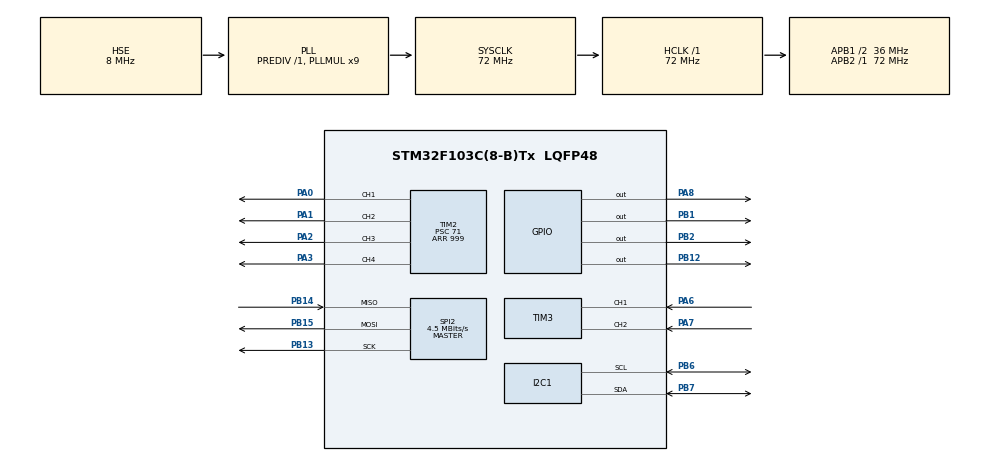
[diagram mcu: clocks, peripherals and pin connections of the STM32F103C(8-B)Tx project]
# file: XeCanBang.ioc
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Mcu.Family=STM32F1
Mcu.Name=STM32F103C(8-B)Tx
Mcu.Package=LQFP48
NVIC.PriorityGroup=NVIC_PRIORITYGROUP_4
PA0-WKUP.Signal=S_TIM2_CH1_ETR
PA1.Signal=S_TIM2_CH2
PA13.Mode=Serial_Wire
PA13.Signal=SYS_JTMS-SWDIO
PA14.Mode=Serial_Wire
PA14.Signal=SYS_JTCK-SWCLK
PA2.Signal=S_TIM2_CH3
PA3.Signal=S_TIM2_CH4
PA6.GPIO_PuPd=GPIO_PULLUP
PA6.Signal=S_TIM3_CH1
PA7.GPIO_PuPd=GPIO_PULLUP
PA7.Signal=S_TIM3_CH2
PA8.Signal=GPIO_Output
PB1.Signal=GPIO_Output
PB12.Signal=GPIO_Output
PB13.Mode=Full_Duplex_Master
PB13.Signal=SPI2_SCK
PB14.Mode=Full_Duplex_Master
PB14.Signal=SPI2_MISO
PB15.Mode=Full_Duplex_Master
PB15.Signal=SPI2_MOSI
PB2.Signal=GPIO_Output
PB6.Mode=I2C
PB6.Signal=I2C1_SCL
PB7.Mode=I2C
PB7.Signal=I2C1_SDA
PD0-OSC_IN.Mode=HSE-External-Oscillator
PD0-OSC_IN.Signal=RCC_OSC_IN
PD1-OSC_OUT.Mode=HSE-External-Oscillator
PD1-OSC_OUT.Signal=RCC_OSC_OUT
ProjectManager.HeapSize=0x200
ProjectManager.StackSize=0x400
ProjectManager.TargetToolchain=MDK-ARM V5.32
RCC.AHBFreq_Value=72000000
RCC.APB1CLKDivider=RCC_HCLK_DIV2
RCC.APB1Freq_Value=36000000
RCC.APB1TimFreq_Value=72000000
RCC.APB2Freq_Value=72000000
RCC.APB2TimFreq_Value=72000000
RCC.HCLKFreq_Value=72000000
RCC.PLLMUL=RCC_PLL_MUL9
RCC.PLLSourceVirtual=RCC_PLLSOURCE_HSE
RCC.SYSCLKFreq_VALUE=72000000
RCC.SYSCLKSource=RCC_SYSCLKSOURCE_PLLCLK
RCC.USBFreq_Value=72000000
SH.S_TIM2_CH1_ETR.0=TIM2_CH1,PWM Generation1 CH1
SH.S_TIM2_CH2.0=TIM2_CH2,PWM Generation2 CH2
SH.S_TIM2_CH3.0=TIM2_CH3,PWM Generation3 CH3
SH.S_TIM2_CH4.0=TIM2_CH4,PWM Generation4 CH4
SH.S_TIM3_CH1.0=TIM3_CH1,Encoder_Interface
SH.S_TIM3_CH2.0=TIM3_CH2,Encoder_Interface
SPI2.BaudRatePrescaler=SPI_BAUDRATEPRESCALER_8
SPI2.CalculateBaudRate=4.5 MBits/s
SPI2.Direction=SPI_DIRECTION_2LINES
SPI2.Mode=SPI_MODE_MASTER
SPI2.VirtualType=VM_MASTER
TIM1.Prescaler=1124
TIM2.Channel-PWM\ Generation1\ CH1=TIM_CHANNEL_1
TIM2.Channel-PWM\ Generation2\ CH2=TIM_CHANNEL_2
TIM2.Channel-PWM\ Generation3\ CH3=TIM_CHANNEL_3
TIM2.Channel-PWM\ Generation4\ CH4=TIM_CHANNEL_4
TIM2.Period=999
TIM2.Prescaler=71
TIM3.EncoderMode=TIM_ENCODERMODE_TI12
TIM4.Prescaler=35
VP_TIM1_VS_ClockSourceINT.Mode=Internal
VP_TIM2_VS_ClockSourceINT.Mode=Internal
VP_TIM4_VS_ClockSourceINT.Mode=Internal
board=custom

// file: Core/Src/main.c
/* USER CODE BEGIN Header */
/**
  ******************************************************************************
  * @file           : main.c
  * @brief          : Main program body
  ******************************************************************************
  * @attention
  *
  * Copyright (c) 2025 STMicroelectronics.
  * All rights reserved.
  *
  * This software is licensed under terms that can be found in the LICENSE file
  * in the root directory of this software component.
  * If no LICENSE file comes with this software, it is provided AS-IS.
  *
  ******************************************************************************
  */
/* USER CODE END Header */
#include "main.h"

/* USER CODE BEGIN Includes */
#include "math.h"
#include "NRF24L01P.h"
#include "DHT11.h"
/* USER CODE END Includes */

/* USER CODE BEGIN PD */
#define 		ADD 		0xD0
#define     RTD     57.2957
/* USER CODE END PD */

I2C_HandleTypeDef hi2c1;

SPI_HandleTypeDef hspi2;

TIM_HandleTypeDef htim1;
TIM_HandleTypeDef htim2;
TIM_HandleTypeDef htim3;
TIM_HandleTypeDef htim4;

/* USER CODE BEGIN PV */
int16_t ax = 0, ay = 0 , az = 0, gx = 0 ,gy = 0 , gz = 0;
float AX,AY,AZ,GX,GY,GZ;
float pitch = 0;
float roll = 0;
/*
--------2x18650--------
float Kp = 300;          // (P)roportional Tuning Parameter
float Ki = 2000;          // (I)ntegral Tuning Parameter
float Kd =5;          // (D)erivative Tuning Parameter
-----------------------
*/

float Kp_a =300;          // (P)roportional Tuning Parameter
float Ki_a = 0;          // (I)ntegral Tuning Parameter
float Kd_a = 0.4;          // (D)erivative Tuning Parameter

float Kp_p =0.04;//0.05;          // (P)roportional Tuning Parameter
float Ki_p = 0;          // (I)ntegral Tuning Parameter
float Kd_p = 0.0001;//0.001;          // (D)erivative Tuning Parameter
float iTerm_p = 0;       // Used to accumulate error (integral)
float lastTime_p = 0;    // Records the time the function was last called
float maxPID_p = 30;    // The maximum value that can be output
float oldValue_p = 0;    // The last sensor value
float targetValue_p = 0;
float pwmDead_p = 0;
//---------------------------------------
float iTerm_a = 0;       // Used to accumulate error (integral)
float lastTime_a = 0;    // Records the time the function was last called
float maxPID_a = 999;    // The maximum value that can be output
float oldValue_a = 0;    // The last sensor value
float targetValue_a = 0;
float pwmDead_a = 0;

short encoder = 0;

int count_dht = 0;
int count_dht_current = 0;
int count_dht_last = 0;
/* USER CODE END PV */

void SystemClock_Config(void);
static void MX_GPIO_Init(void);
static void MX_I2C1_Init(void);
static void MX_TIM2_Init(void);
static void MX_TIM1_Init(void);
static void MX_TIM3_Init(void);
static void MX_SPI2_Init(void);
static void MX_TIM4_Init(void);
/* USER CODE BEGIN PFP */
uint8_t MPU6050Init(void);
void MPU6050ReadG(void);
void MPU6050ReadA(void);
void filter(float AX, float AY, float AZ, float GX, float GY, float GZ,uint16_t dt);
/* USER CODE END PFP */

/* USER CODE BEGIN 0 */
uint8_t MPU6050Init(void){
	uint8_t check;
	uint8_t mData;
	HAL_I2C_Mem_Read(&hi2c1,ADD, 0x75,1, &check,1,1000);
	if(check == 0x68){
		mData = 0x01;
		HAL_I2C_Mem_Write(&hi2c1, ADD,0x6B,1,&mData,1,1000);
		mData = 0x07;
		HAL_I2C_Mem_Write(&hi2c1, ADD,0x19,1,&mData,1,1000);
		mData = 0x00;
		HAL_I2C_Mem_Write(&hi2c1, ADD,0x1B,1,&mData,1,1000);
		mData = 0x00;
		HAL_I2C_Mem_Write(&hi2c1, ADD,0x1C,1,&mData,1,1000);
		return 0;
	}
	return 1;
}
void MPU6050ReadG(void){
	uint8_t dataG[6];

	HAL_I2C_Mem_Read(&hi2c1,ADD, 0x43,1, dataG,6,1000);
	gx = (int16_t)(dataG[0] << 8 | dataG[1]);
	gy = (int16_t)(dataG[2] << 8 | dataG[3]);
	gz = (int16_t)(dataG[4] << 8 | dataG[5]);
	GX = (float)gx/131.0;
	GY = (float)gy/131.0;
	GZ = (float)gz/131.0;
}
void MPU6050ReadA(void){
	uint8_t dataA[6];
	HAL_I2C_Mem_Read(&hi2c1,ADD, 0x3B,1, dataA,6,1000);
	ax = (int16_t)(dataA[0] << 8 | dataA[1]);
	ay = (int16_t)(dataA[2] << 8 | dataA[3]);
	az = (int16_t)(dataA[4] << 8 | dataA[5]);
	AX = (float)ax/16384.0;
	AY = (float)ay/16384.0;
	AZ = (float)az/16384.0;
}
void filter(float AX, float AY, float AZ, float GX, float GY, float GZ,uint16_t dt){

	float pitchG = pitch + GX*(dt/64000.0f);
	float rollG = roll + GY*(dt/64000.0f);

	float pitchA = atan2(AY, sqrt(AX*AX + AZ * AZ))*RTD;
	float rollA = atan2(AX, sqrt(AY*AY + AZ*AZ))*RTD;

	pitch = 0.99*pitchG + 0.01*pitchA;
	roll = 0.99*rollG + 0.01*rollA;

}
/*
IN1: PA0
IN2: PA1
IN3: PA2
IN4: PA3
roll < 0 -> Up
roll > 0 -> Down
*/
void PWM_Start(void){
	HAL_TIM_PWM_Start(&htim2, TIM_CHANNEL_1);
	HAL_TIM_PWM_Start(&htim2, TIM_CHANNEL_2);
	HAL_TIM_PWM_Start(&htim2, TIM_CHANNEL_3);
	HAL_TIM_PWM_Start(&htim2, TIM_CHANNEL_4);
}
void Update_PWM(int16_t pwm){
	if(pwm > 0){
		htim2.Instance->CCR1 = pwm;
		htim2.Instance->CCR2 = 0;
		htim2.Instance->CCR3 = pwm;
		htim2.Instance->CCR4 = 0;
		return;
	}
	htim2.Instance->CCR1 = 0;
	htim2.Instance->CCR2 = -pwm;
	htim2.Instance->CCR3 = 0;
	htim2.Instance->CCR4 = -pwm;
}
int16_t pid_angle(float target, float current,int64_t dt) {
	// Calculate the time since function was last called
	float dT = (float)dt/64000.0f;

	// Calculate error between target and current values
	float error = target - current;

	// Calculate the integral term
	iTerm_a += error * dT;
	if(iTerm_a > 0.7) iTerm_a = 0.7;
	if(iTerm_a < -0.7) iTerm_a = -0.7;
	// Calculate the derivative term (using the simplification)
	float dTerm = (oldValue_a - current) / dT;

	// Set old variable to equal new ones
	oldValue_a = current;

	// Multiply each term by its constant, and add it all up
	float result = (error * Kp_a) + (iTerm_a * Ki_a) + (dTerm * Kd_a);

	// Limit PID value to maximum values
	if (result > maxPID_a) result = maxPID_a;
	else if (result < -maxPID_a) result = -maxPID_a;

	return (int16_t)result;
}
int16_t pid_position(float target, float current,int64_t dt) {
	// Calculate the time since function was last called
	float dT = (float)dt/64000.0f;

	// Calculate error between target and current values
	float error = target - current;

	// Calculate the integral term
	iTerm_p += error * dT;
	if(iTerm_p > 1) iTerm_p = 1;
	if(iTerm_p < -1) iTerm_p = -1;
	// Calculate the derivative term (using the simplification)
	float dTerm = (oldValue_p - current) / dT;

	// Set old variable to equal new ones
	oldValue_p = current;

	// Multiply each term by its constant, and add it all up
	float result = -((error * Kp_p) + (iTerm_p * Ki_p) + (dTerm * Kd_p));

	// Limit PID value to maximum values
	if (result > maxPID_p) result = maxPID_p;
	else if (result < -maxPID_p) result = -maxPID_p;

	return (int16_t)result;
}
/* USER CODE END 0 */

int main(void)
{

  /* MCU Configuration--------------------------------------------------------*/

  /* Reset of all peripherals, Initializes the Flash interface and the Systick. */
  HAL_Init();

  /* Configure the system clock */
  SystemClock_Config();

  /* Initialize all configured peripherals */
  MX_GPIO_Init();
  MX_I2C1_Init();
  MX_TIM2_Init();
  MX_TIM1_Init();
  MX_TIM3_Init();
  MX_SPI2_Init();
  MX_TIM4_Init();
  /* USER CODE BEGIN 2 */
	MPU6050Init();
	PWM_Start();
	HAL_TIM_Base_Start(&htim1);
	HAL_TIM_Base_Start(&htim4);
	HAL_TIM_Encoder_Start(&htim3, TIM_CHANNEL_1 | TIM_CHANNEL_2);
	HAL_GPIO_WritePin(GPIOB,GPIO_PIN_2,1);
	HAL_Delay(500);
	DHT11_Read();
	HAL_GPIO_WritePin(GPIOB,GPIO_PIN_2,0);
	uint16_t x = 0;
  /* USER CODE END 2 */

  /* Infinite loop */
  /* USER CODE BEGIN WHILE */
uint32_t lastLoop = 0;
const uint32_t loopInterval = 10;

uint32_t lastDHT = 0;
const uint32_t DHTInterval = 4000;
	while (1){
		uint32_t now = HAL_GetTick();
		if (now - lastLoop >= loopInterval){
			lastLoop = now;

			encoder = __HAL_TIM_GET_COUNTER(&htim3);
			x = htim1.Instance->CNT;
			htim1.Instance->CNT = 0;

			MPU6050ReadG();
			MPU6050ReadA();
			filter(AX, AY, AZ, GX, GY, GZ, x);

			targetValue_a = pid_position(targetValue_p, encoder, x) + 4.4;
			int16_t pwmvalue = pid_angle(targetValue_a, pitch, x);
			Update_PWM(pwmvalue);

			if (pitch > 60 || pitch < -60){
				HAL_TIM_PWM_Stop(&htim2, TIM_CHANNEL_1);
				HAL_TIM_PWM_Stop(&htim2, TIM_CHANNEL_2);
				HAL_TIM_PWM_Stop(&htim2, TIM_CHANNEL_3);
				HAL_TIM_PWM_Stop(&htim2, TIM_CHANNEL_4);
				while (1);
			}
		}
		if (now - lastDHT >= DHTInterval){
			lastDHT = now;
			DHT11_Read();
		}
	}

  /* USER CODE END 3 */
}

void SystemClock_Config(void)
{
  RCC_OscInitTypeDef RCC_OscInitStruct = {0};
  RCC_ClkInitTypeDef RCC_ClkInitStruct = {0};

  /** Initializes the RCC Oscillators according to the specified parameters
  * in the RCC_OscInitTypeDef structure.
  */
  RCC_OscInitStruct.OscillatorType = RCC_OSCILLATORTYPE_HSE;
  RCC_OscInitStruct.HSEState = RCC_HSE_ON;
  RCC_OscInitStruct.HSEPredivValue = RCC_HSE_PREDIV_DIV1;
  RCC_OscInitStruct.HSIState = RCC_HSI_ON;
  RCC_OscInitStruct.PLL.PLLState = RCC_PLL_ON;
  RCC_OscInitStruct.PLL.PLLSource = RCC_PLLSOURCE_HSE;
  RCC_OscInitStruct.PLL.PLLMUL = RCC_PLL_MUL9;
  if (HAL_RCC_OscConfig(&RCC_OscInitStruct) != HAL_OK)
  {
    Error_Handler();
  }

  /** Initializes the CPU, AHB and APB buses clocks
  */
  RCC_ClkInitStruct.ClockType = RCC_CLOCKTYPE_HCLK|RCC_CLOCKTYPE_SYSCLK
                              |RCC_CLOCKTYPE_PCLK1|RCC_CLOCKTYPE_PCLK2;
  RCC_ClkInitStruct.SYSCLKSource = RCC_SYSCLKSOURCE_PLLCLK;
  RCC_ClkInitStruct.AHBCLKDivider = RCC_SYSCLK_DIV1;
  RCC_ClkInitStruct.APB1CLKDivider = RCC_HCLK_DIV2;
  RCC_ClkInitStruct.APB2CLKDivider = RCC_HCLK_DIV1;

  if (HAL_RCC_ClockConfig(&RCC_ClkInitStruct, FLASH_LATENCY_2) != HAL_OK)
  {
    Error_Handler();
  }
}

static void MX_I2C1_Init(void)
{

  hi2c1.Instance = I2C1;
  hi2c1.Init.ClockSpeed = 100000;
  hi2c1.Init.DutyCycle = I2C_DUTYCYCLE_2;
  hi2c1.Init.OwnAddress1 = 0;
  hi2c1.Init.AddressingMode = I2C_ADDRESSINGMODE_7BIT;
  hi2c1.Init.DualAddressMode = I2C_DUALADDRESS_DISABLE;
  hi2c1.Init.OwnAddress2 = 0;
  hi2c1.Init.GeneralCallMode = I2C_GENERALCALL_DISABLE;
  hi2c1.Init.NoStretchMode = I2C_NOSTRETCH_DISABLE;
  if (HAL_I2C_Init(&hi2c1) != HAL_OK)
  {
    Error_Handler();
  }

}

static void MX_SPI2_Init(void)
{

  /* SPI2 parameter configuration*/
  hspi2.Instance = SPI2;
  hspi2.Init.Mode = SPI_MODE_MASTER;
  hspi2.Init.Direction = SPI_DIRECTION_2LINES;
  hspi2.Init.DataSize = SPI_DATASIZE_8BIT;
  hspi2.Init.CLKPolarity = SPI_POLARITY_LOW;
  hspi2.Init.CLKPhase = SPI_PHASE_1EDGE;
  hspi2.Init.NSS = SPI_NSS_SOFT;
  hspi2.Init.BaudRatePrescaler = SPI_BAUDRATEPRESCALER_8;
  hspi2.Init.FirstBit = SPI_FIRSTBIT_MSB;
  hspi2.Init.TIMode = SPI_TIMODE_DISABLE;
  hspi2.Init.CRCCalculation = SPI_CRCCALCULATION_DISABLE;
  hspi2.Init.CRCPolynomial = 10;
  if (HAL_SPI_Init(&hspi2) != HAL_OK)
  {
    Error_Handler();
  }

}

static void MX_TIM1_Init(void)
{

  TIM_ClockConfigTypeDef sClockSourceConfig = {0};
  TIM_MasterConfigTypeDef sMasterConfig = {0};

  htim1.Instance = TIM1;
  htim1.Init.Prescaler = 1124;
  htim1.Init.CounterMode = TIM_COUNTERMODE_UP;
  htim1.Init.Period = 65535;
  htim1.Init.ClockDivision = TIM_CLOCKDIVISION_DIV1;
  htim1.Init.RepetitionCounter = 0;
  htim1.Init.AutoReloadPreload = TIM_AUTORELOAD_PRELOAD_DISABLE;
  if (HAL_TIM_Base_Init(&htim1) != HAL_OK)
  {
    Error_Handler();
  }
  sClockSourceConfig.ClockSource = TIM_CLOCKSOURCE_INTERNAL;
  if (HAL_TIM_ConfigClockSource(&htim1, &sClockSourceConfig) != HAL_OK)
  {
    Error_Handler();
  }
  sMasterConfig.MasterOutputTrigger = TIM_TRGO_RESET;
  sMasterConfig.MasterSlaveMode = TIM_MASTERSLAVEMODE_DISABLE;
  if (HAL_TIMEx_MasterConfigSynchronization(&htim1, &sMasterConfig) != HAL_OK)
  {
    Error_Handler();
  }

}

static void MX_TIM2_Init(void)
{

  TIM_ClockConfigTypeDef sClockSourceConfig = {0};
  TIM_MasterConfigTypeDef sMasterConfig = {0};
  TIM_OC_InitTypeDef sConfigOC = {0};

  htim2.Instance = TIM2;
  htim2.Init.Prescaler = 71;
  htim2.Init.CounterMode = TIM_COUNTERMODE_UP;
  htim2.Init.Period = 999;
  htim2.Init.ClockDivision = TIM_CLOCKDIVISION_DIV1;
  htim2.Init.AutoReloadPreload = TIM_AUTORELOAD_PRELOAD_DISABLE;
  if (HAL_TIM_Base_Init(&htim2) != HAL_OK)
  {
    Error_Handler();
  }
  sClockSourceConfig.ClockSource = TIM_CLOCKSOURCE_INTERNAL;
  if (HAL_TIM_ConfigClockSource(&htim2, &sClockSourceConfig) != HAL_OK)
  {
    Error_Handler();
  }
  if (HAL_TIM_PWM_Init(&htim2) != HAL_OK)
  {
    Error_Handler();
  }
  sMasterConfig.MasterOutputTrigger = TIM_TRGO_RESET;
  sMasterConfig.MasterSlaveMode = TIM_MASTERSLAVEMODE_DISABLE;
  if (HAL_TIMEx_MasterConfigSynchronization(&htim2, &sMasterConfig) != HAL_OK)
  {
    Error_Handler();
  }
  sConfigOC.OCMode = TIM_OCMODE_PWM1;
  sConfigOC.Pulse = 0;
  sConfigOC.OCPolarity = TIM_OCPOLARITY_HIGH;
  sConfigOC.OCFastMode = TIM_OCFAST_DISABLE;
  if (HAL_TIM_PWM_ConfigChannel(&htim2, &sConfigOC, TIM_CHANNEL_1) != HAL_OK)
  {
    Error_Handler();
  }
  if (HAL_TIM_PWM_ConfigChannel(&htim2, &sConfigOC, TIM_CHANNEL_2) != HAL_OK)
  {
    Error_Handler();
  }
  if (HAL_TIM_PWM_ConfigChannel(&htim2, &sConfigOC, TIM_CHANNEL_3) != HAL_OK)
  {
    Error_Handler();
  }
  if (HAL_TIM_PWM_ConfigChannel(&htim2, &sConfigOC, TIM_CHANNEL_4) != HAL_OK)
  {
    Error_Handler();
  }
  HAL_TIM_MspPostInit(&htim2);

}

static void MX_TIM3_Init(void)
{

  TIM_Encoder_InitTypeDef sConfig = {0};
  TIM_MasterConfigTypeDef sMasterConfig = {0};

  htim3.Instance = TIM3;
  htim3.Init.Prescaler = 0;
  htim3.Init.CounterMode = TIM_COUNTERMODE_UP;
  htim3.Init.Period = 65535;
  htim3.Init.ClockDivision = TIM_CLOCKDIVISION_DIV1;
  htim3.Init.AutoReloadPreload = TIM_AUTORELOAD_PRELOAD_DISABLE;
  sConfig.EncoderMode = TIM_ENCODERMODE_TI12;
  sConfig.IC1Polarity = TIM_ICPOLARITY_RISING;
  sConfig.IC1Selection = TIM_ICSELECTION_DIRECTTI;
  sConfig.IC1Prescaler = TIM_ICPSC_DIV1;
  sConfig.IC1Filter = 0;
  sConfig.IC2Polarity = TIM_ICPOLARITY_RISING;
  sConfig.IC2Selection = TIM_ICSELECTION_DIRECTTI;
  sConfig.IC2Prescaler = TIM_ICPSC_DIV1;
  sConfig.IC2Filter = 0;
  if (HAL_TIM_Encoder_Init(&htim3, &sConfig) != HAL_OK)
  {
    Error_Handler();
  }
  sMasterConfig.MasterOutputTrigger = TIM_TRGO_RESET;
  sMasterConfig.MasterSlaveMode = TIM_MASTERSLAVEMODE_DISABLE;
  if (HAL_TIMEx_MasterConfigSynchronization(&htim3, &sMasterConfig) != HAL_OK)
  {
    Error_Handler();
  }

}

static void MX_TIM4_Init(void)
{

  TIM_ClockConfigTypeDef sClockSourceConfig = {0};
  TIM_MasterConfigTypeDef sMasterConfig = {0};

  htim4.Instance = TIM4;
  htim4.Init.Prescaler = 35;
  htim4.Init.CounterMode = TIM_COUNTERMODE_UP;
  htim4.Init.Period = 65535;
  htim4.Init.ClockDivision = TIM_CLOCKDIVISION_DIV1;
  htim4.Init.AutoReloadPreload = TIM_AUTORELOAD_PRELOAD_DISABLE;
  if (HAL_TIM_Base_Init(&htim4) != HAL_OK)
  {
    Error_Handler();
  }
  sClockSourceConfig.ClockSource = TIM_CLOCKSOURCE_INTERNAL;
  if (HAL_TIM_ConfigClockSource(&htim4, &sClockSourceConfig) != HAL_OK)
  {
    Error_Handler();
  }
  sMasterConfig.MasterOutputTrigger = TIM_TRGO_RESET;
  sMasterConfig.MasterSlaveMode = TIM_MASTERSLAVEMODE_DISABLE;
  if (HAL_TIMEx_MasterConfigSynchronization(&htim4, &sMasterConfig) != HAL_OK)
  {
    Error_Handler();
  }

}

static void MX_GPIO_Init(void)
{
  GPIO_InitTypeDef GPIO_InitStruct = {0};

  /* GPIO Ports Clock Enable */
  __HAL_RCC_GPIOD_CLK_ENABLE();
  __HAL_RCC_GPIOA_CLK_ENABLE();
  __HAL_RCC_GPIOB_CLK_ENABLE();

  /*Configure GPIO pin Output Level */
  HAL_GPIO_WritePin(GPIOB, GPIO_PIN_1|GPIO_PIN_2|GPIO_PIN_12, GPIO_PIN_RESET);

  /*Configure GPIO pin Output Level */
  HAL_GPIO_WritePin(GPIOA, GPIO_PIN_8, GPIO_PIN_RESET);

  /*Configure GPIO pins : PB1 PB2 PB12 */
  GPIO_InitStruct.Pin = GPIO_PIN_1|GPIO_PIN_2|GPIO_PIN_12;
  GPIO_InitStruct.Mode = GPIO_MODE_OUTPUT_PP;
  GPIO_InitStruct.Pull = GPIO_NOPULL;
  GPIO_InitStruct.Speed = GPIO_SPEED_FREQ_LOW;
  HAL_GPIO_Init(GPIOB, &GPIO_InitStruct);

  /*Configure GPIO pin : PA8 */
  GPIO_InitStruct.Pin = GPIO_PIN_8;
  GPIO_InitStruct.Mode = GPIO_MODE_OUTPUT_PP;
  GPIO_InitStruct.Pull = GPIO_NOPULL;
  GPIO_InitStruct.Speed = GPIO_SPEED_FREQ_LOW;
  HAL_GPIO_Init(GPIOA, &GPIO_InitStruct);

}

void Error_Handler(void)
{
  __disable_irq();
  while (1)
  {
  }
}
